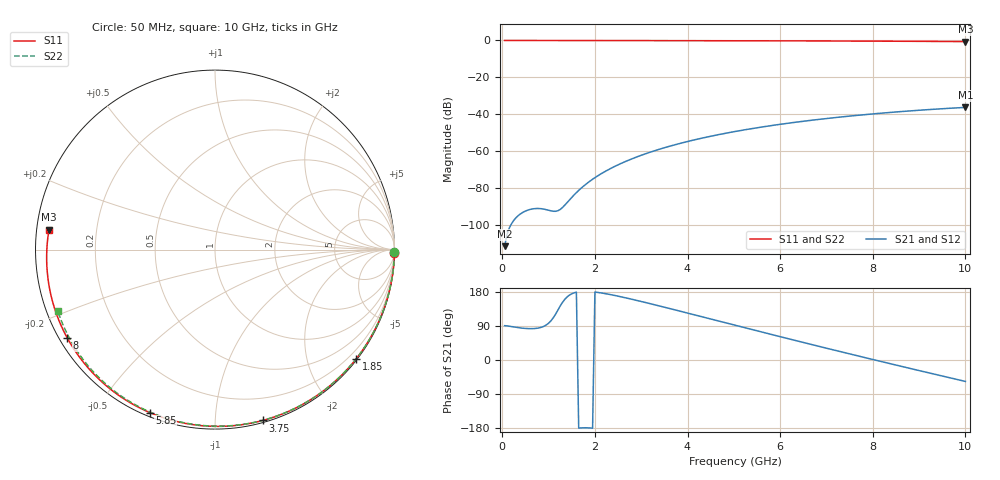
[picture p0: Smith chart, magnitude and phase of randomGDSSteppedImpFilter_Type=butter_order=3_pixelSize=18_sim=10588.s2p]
! freq	dB(S11)	phase(S11)	dB(S12)	phase(S12)
!  dB(S21)	phase(S21)	dB(S22)	phase(S22)
!S-par simulation data
#  GHz  S  DB  R 50
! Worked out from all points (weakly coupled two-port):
!   200 points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, 50 MHz to 10 GHz, reference 50 ohm
!   highest |S21| = -36.21 dB at 10 GHz (marker M1); lowest = -111.3 dB at 50 MHz (marker M2)
!   lowest |S11| = -0.6 dB at 10 GHz (marker M3), VSWR 28.23, Z = 1.78 + j3 ohm
!   |S11| at or under -10 dB: nowhere
!   |S22| runs from -0.5 to 0.0 dB; largest |S21 - S12| = 0
!   S11 on the Smith chart (normalised r, x): 50 MHz: open; 1.85 GHz: 0.03, -2.92; 3.75 GHz: 0.02, -1.32; 5.85 GHz: 0.02, -0.68; 8 GHz: 0.02, -0.28; 10 GHz: 0.04, +0.06
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0.05  -0.00 -1.0  -111.26 90.5  -111.26 90.5  -0.00 -0.9
0.4  -0.01 -8.3  -93.66 84.4  -93.66 84.4  -0.01 -7.3
0.8  -0.02 -16.6  -90.90 84.9  -90.90 84.9  -0.02 -14.5
1.2  -0.03 -24.7  -92.09 131.5  -92.09 131.5  -0.03 -21.6
1.65  -0.04 -33.8  -81.09 -179.8  -81.09 -179.8  -0.04 -29.6
1.7  -0.04 -34.8  -79.95 -179.1  -79.95 -179.1  -0.04 -30.5
1.75  -0.05 -35.8  -78.87 -178.8  -78.87 -178.8  -0.04 -31.3
1.85  -0.05 -37.8  -76.87 -179.0  -76.87 -179.0  -0.04 -33.1
2.15  -0.06 -43.8  -71.86 176.7  -71.86 176.7  -0.05 -38.3
2.5  -0.06 -50.6  -67.26 168.5  -67.26 168.5  -0.06 -44.3
2.9  -0.08 -58.3  -63.03 157.4  -63.03 157.4  -0.07 -51.1
3.4  -0.09 -67.8  -58.77 142.4  -58.77 142.4  -0.08 -59.5
3.75  -0.10 -74.4  -56.26 131.6  -56.26 131.6  -0.09 -65.2
4.4  -0.12 -86.3  -52.34 111.4  -52.34 111.4  -0.11 -75.7
5.05  -0.15 -97.9  -49.13 91.0  -49.13 91.0  -0.13 -85.9
5.85  -0.19 -111.9  -45.89 66.2  -45.89 66.2  -0.17 -98.1
6.7  -0.25 -126.5  -43.09 40.2  -43.09 40.2  -0.22 -110.7
7.35  -0.30 -137.8  -41.29 20.6  -41.29 20.6  -0.26 -120.1
8  -0.36 -149.2  -39.73 1.3  -39.73 1.3  -0.31 -129.5
8.35  -0.40 -155.4  -38.98 -9.0  -38.98 -9.0  -0.35 -134.6
9.2  -0.50 -171.1  -37.40 -33.7  -37.40 -33.7  -0.44 -147.0
10  -0.62 173.1  -36.21 -56.5  -36.21 -56.5  -0.54 -158.8
